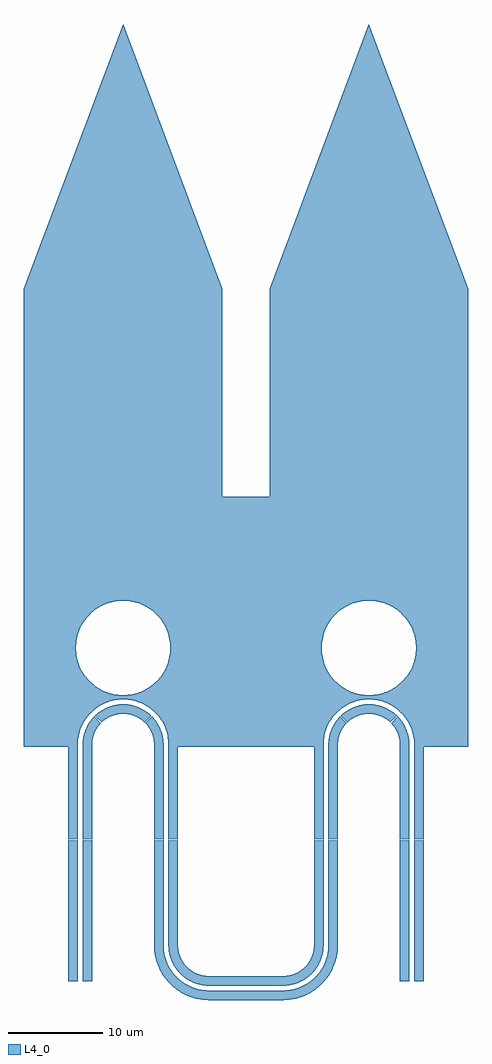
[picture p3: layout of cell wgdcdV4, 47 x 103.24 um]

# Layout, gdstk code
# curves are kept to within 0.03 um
import gdstk
lib = gdstk.Library(unit=1e-6, precision=1e-09)
def R(c, l, rs):  # rectangles x0, y0, x1, y1
    for r in rs: c.add(gdstk.rectangle(r[:2], r[2:], *l))
def P(c, l, *ps):  # polygons
    for p in ps: c.add(gdstk.Polygon(p, *l))
L4_0 = (4, 0)

wgdcdv4 = lib.new_cell('wgdcdV4')
R(wgdcdv4, L4_0, [(0.05,-37.24,3.92,-36.24), (-18.8,-35.24,-17.8,-20.34), (-17.28,-35.24,-16.28,-20.34), (16.28,-35.24,17.28,-20.34), (17.8,-35.24,18.8,-20.34)])
P(wgdcdv4, L4_0, [(-3.92,-37.24),(-4.771,-37.177),(-5.672,-36.969),(-6.528,-36.621),(-7.318,-36.141),(-7.971,-35.591),(-8.579,-34.895),(-9.035,-34.174),(-9.405,-33.327),(-9.635,-32.432),(-9.72,-31.511),(-9.72,-20.34),(-8.72,-20.34),(-8.711,-31.734),(-8.639,-32.319),(-8.496,-32.89),(-8.284,-33.439),(-8.007,-33.958),(-7.668,-34.439),(-7.272,-34.876),(-6.826,-35.26),(-6.286,-35.616),(-5.757,-35.875),(-5.2,-36.066),(-4.508,-36.204),(-3.92,-36.24),(-3.92,-37.24),(-3.92,-36.24),(-0.05,-36.24),(-0.05,-37.24)],
  [(-3.92,-35.72),(-4.6,-35.666),(-5.263,-35.504),(-5.938,-35.215),(-6.47,-34.878),(-7.02,-34.391),(-7.479,-33.818),(-7.833,-33.174),(-8.045,-32.582),(-8.154,-32.068),(-8.2,-31.493),(-8.2,-20.34),(-7.2,-20.34),(-7.198,-31.561),(-7.092,-32.276),(-6.794,-33.022),(-6.43,-33.552),(-5.938,-34.026),(-5.359,-34.388),(-4.717,-34.622),(-3.96,-34.72),(-0.05,-34.72),(-0.05,-35.72)],
  [(0.05,-35.72),(0.05,-34.72),(3.96,-34.72),(4.717,-34.622),(5.359,-34.388),(5.938,-34.026),(6.43,-33.552),(6.794,-33.022),(7.092,-32.276),(7.198,-31.561),(7.2,-20.34),(8.2,-20.34),(8.195,-31.65),(8.045,-32.582),(7.695,-33.458),(7.195,-34.196),(6.594,-34.782),(5.938,-35.215),(5.112,-35.551),(4.6,-35.666),(4.025,-35.719)],
  [(3.92,-37.24),(3.92,-36.24),(4.683,-36.179),(5.426,-35.998),(6.131,-35.701),(6.732,-35.33),(7.272,-34.876),(7.81,-34.252),(8.181,-33.651),(8.478,-32.946),(8.639,-32.319),(8.719,-31.558),(8.72,-20.34),(9.72,-20.34),(9.72,-31.511),(9.635,-32.432),(9.405,-33.327),(9.035,-34.174),(8.579,-34.895),(7.971,-35.591),(7.318,-36.141),(6.528,-36.621),(5.672,-36.969),(4.771,-37.177)],
  [(-17.28,-20.24),(-17.259,-9.82),(-17.125,-9.098),(-16.869,-8.41),(-16.559,-7.862),(-16.061,-7.249),(-15.354,-7.956),(-15.682,-8.351),(-15.999,-8.911),(-16.182,-9.443),(-16.271,-9.999),(-16.28,-20.24)],
  [(16.28,-20.24),(16.271,-9.999),(16.182,-9.443),(15.999,-8.911),(15.682,-8.351),(15.354,-7.956),(16.061,-7.249),(16.559,-7.862),(16.954,-8.602),(17.198,-9.405),(17.279,-10.135),(17.28,-20.24)],
  [(-9.72,-20.24),(-9.729,-9.999),(-9.818,-9.443),(-10.001,-8.911),(-10.318,-8.351),(-10.646,-7.956),(-9.939,-7.249),(-9.441,-7.862),(-9.046,-8.602),(-8.802,-9.405),(-8.721,-10.135),(-8.72,-20.24)],
  [(8.72,-20.24),(8.741,-9.82),(8.875,-9.098),(9.131,-8.41),(9.441,-7.862),(9.939,-7.249),(10.646,-7.956),(10.318,-8.351),(10.001,-8.911),(9.818,-9.443),(9.729,-9.999),(9.72,-20.24)],
  [(-15.284,-7.886),(-15.991,-7.179),(-15.378,-6.681),(-14.83,-6.371),(-14.242,-6.144),(-13.524,-5.992),(-12.58,-5.981),(-11.657,-6.176),(-10.8,-6.569),(-10.009,-7.179),(-10.716,-7.886),(-11.314,-7.427),(-11.971,-7.126),(-12.679,-6.976),(-13.402,-6.985),(-13.952,-7.101),(-14.402,-7.275),(-14.889,-7.558)],
  [(10.716,-7.886),(10.009,-7.179),(10.622,-6.681),(11.17,-6.371),(11.758,-6.144),(12.476,-5.992),(13.42,-5.981),(14.343,-6.176),(15.2,-6.569),(15.991,-7.179),(15.284,-7.886),(14.686,-7.427),(14.029,-7.126),(13.321,-6.976),(12.598,-6.985),(12.048,-7.101),(11.598,-7.275),(11.111,-7.558)],
  [(-18.8,-20.24),(-18.8,-10.44),(-23.5,-10.44),(-23.5,-5),(13.49,-4.976),(14.215,-4.85),(14.913,-4.619),(15.571,-4.289),(16.172,-3.865),(16.705,-3.358),(17.157,-2.778),(17.41,-2.357),(17.708,-1.684),(17.904,-0.975),(17.976,-0.49),(17.994,0.245),(17.946,0.734),(17.785,1.451),(17.52,2.138),(17.289,2.571),(16.865,3.172),(16.536,3.536),(15.978,4.016),(15.571,4.289),(14.913,4.619),(14.451,4.785),(13.734,4.946),(13.245,4.994),(12.51,4.976),(11.549,4.785),(10.643,4.41),(9.828,3.865),(9.295,3.358),(8.711,2.571),(8.292,1.684),(8.054,0.734),(8.006,-0.245),(8.15,-1.215),(8.48,-2.138),(8.843,-2.778),(9.464,-3.536),(10.222,-4.157),(11.087,-4.619),(12.025,-4.904),(13,-5),(-13,-5),(-12.025,-4.904),(-11.087,-4.619),(-10.222,-4.157),(-9.464,-3.536),(-9.135,-3.172),(-8.711,-2.571),(-8.292,-1.684),(-8.054,-0.734),(-8.006,0.245),(-8.15,1.215),(-8.48,2.138),(-8.984,2.978),(-9.642,3.705),(-10.429,4.289),(-10.862,4.52),(-11.549,4.785),(-12.51,4.976),(-13.49,4.976),(-14.451,4.785),(-15.357,4.41),(-16.172,3.865),(-16.705,3.358),(-17.289,2.571),(-17.708,1.684),(-17.946,0.734),(-17.994,-0.245),(-17.85,-1.215),(-17.52,-2.138),(-17.157,-2.778),(-16.536,-3.536),(-15.778,-4.157),(-14.913,-4.619),(-13.975,-4.904),(-13,-5),(-23.5,-5),(-23.5,38),(-13,66),(-2.5,38),(-2.5,16),(2.5,16),(2.5,38),(13,66),(23.5,38),(23.5,-10.44),(18.8,-10.44),(18.8,-20.24),(17.8,-20.24),(17.8,-10.24),(17.748,-9.536),(17.593,-8.847),(17.435,-8.403),(17.117,-7.772),(16.557,-7.017),(16.223,-6.683),(15.667,-6.249),(15.263,-6.007),(14.617,-5.721),(13.936,-5.532),(13,-5.44),(12.064,-5.532),(11.163,-5.805),(10.333,-6.249),(9.606,-6.846),(9.009,-7.573),(8.565,-8.403),(8.292,-9.304),(8.206,-10.004),(8.2,-20.24),(7.2,-20.24),(7.2,-10.44),(-7.2,-10.44),(-7.2,-20.24),(-8.2,-20.24),(-8.206,-10.004),(-8.292,-9.304),(-8.565,-8.403),(-9.009,-7.573),(-9.443,-7.017),(-9.955,-6.53),(-10.737,-6.007),(-11.607,-5.647),(-12.53,-5.463),(-13.47,-5.463),(-14.166,-5.584),(-14.837,-5.805),(-15.263,-6.007),(-15.667,-6.249),(-16.223,-6.683),(-16.71,-7.195),(-17.117,-7.772),(-17.435,-8.403),(-17.593,-8.847),(-17.748,-9.536),(-17.8,-10.24),(-17.8,-20.24)])

lib.write_gds('wgdcdV4.gds')
